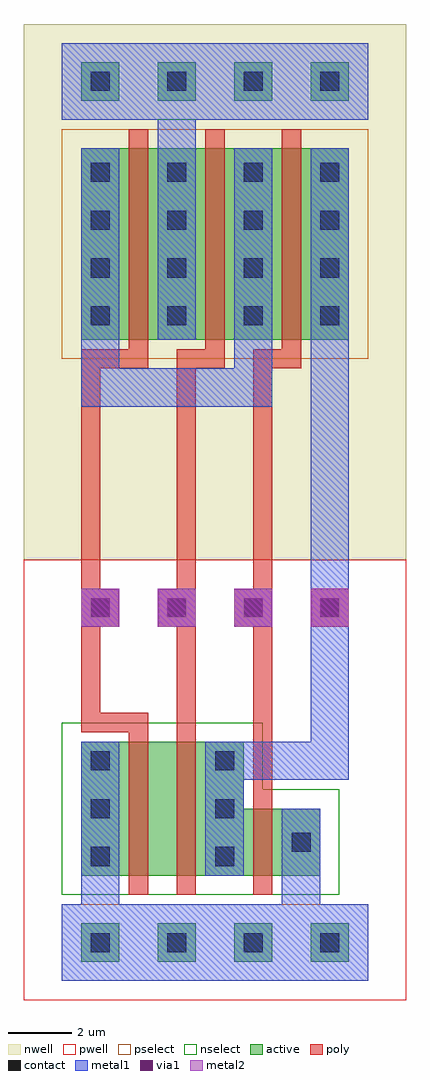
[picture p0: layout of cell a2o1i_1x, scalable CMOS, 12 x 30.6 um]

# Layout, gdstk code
import gdstk
lib = gdstk.Library(unit=1e-6, precision=1e-09)
def R(c, l, rs):  # rectangles x0, y0, x1, y1
    for r in rs: c.add(gdstk.rectangle(r[:2], r[2:], *l))
def A(c, l, x, y, w, h, nx, ny, dx, dy):  # array of equal rectangles
    R(c, l, [(x+i*dx, y+j*dy, x+i*dx+w, y+j*dy+h) for i in range(nx) for j in range(ny)])
contact = (25, 0)
pwell = (41, 0)
nwell = (42, 0)
active = (43, 0)
pselect = (44, 0)
nselect = (45, 0)
poly = (46, 0)
metal1 = (49, 0)
via1 = (50, 0)
metal2 = (51, 0)

a2o1i_1x = lib.new_cell('a2o1i_1x')
A(a2o1i_1x, contact, 0.9, -0.3, 0.6, 0.6, 4, 2, 2.4, 10.5)
A(a2o1i_1x, contact, 0.9, 2.4, 0.6, 0.6, 1, 3, 0, 1.5)
A(a2o1i_1x, contact, 4.8, 2.4, 0.6, 0.6, 1, 3, 0, 1.5)
A(a2o1i_1x, contact, 0.9, 19.35, 0.6, 0.6, 4, 4, 2.4, 1.5)
A(a2o1i_1x, contact, 0.9, 26.7, 0.6, 0.6, 4, 1, 2.4, 0)
R(a2o1i_1x, contact, [(7.2,2.85,7.8,3.45)])
A(a2o1i_1x, pwell, -0.3, -1.5, 3, 3, 4, 1, 2.4, 0)
R(a2o1i_1x, pwell, [(-1.2,-1.8,10.8,12), (-1.2,0.3,3.6,8.1), (-0.6,0.3,5.4,8.1), (0.9,0.3,6.9,8.1), (2.7,0.3,7.5,8.1), (3.3,0.3,9.3,6), (5.1,0.3,9.9,6), (2.775,1.35,7.425,5.85), (5.175,1.35,9.75,5.85), (-1.05,1.95,3.525,6.45), (0.525,1.95,5.775,6.45), (2.775,1.95,7.35,6.45)])
A(a2o1i_1x, nwell, -1.2, 17.1, 4.8, 9.6, 4, 1, 2.4, 0)
A(a2o1i_1x, nwell, -0.6, 17.1, 6, 9.6, 3, 1, 2.4, 0)
A(a2o1i_1x, nwell, -0.3, 25.5, 3, 3, 4, 1, 2.4, 0)
R(a2o1i_1x, nwell, [(-1.2,12,10.8,28.8), (-1.05,19.65,3.525,24.15), (1.275,19.65,5.85,24.15), (1.35,19.65,5.925,24.15), (3.675,19.65,8.25,24.15), (3.75,19.65,8.325,24.15), (6.075,19.65,10.65,24.15)])
A(a2o1i_1x, active, 0.6, -0.6, 1.2, 1.2, 4, 2, 2.4, 27)
A(a2o1i_1x, active, 0.6, 18.9, 1.2, 6, 4, 1, 2.4, 0)
A(a2o1i_1x, active, 1.2, 18.9, 2.4, 6, 3, 1, 2.4, 0)
R(a2o1i_1x, active, [(0.6,2.1,1.8,6.3), (1.2,2.1,3.6,6.3), (2.7,2.1,5.1,6.3), (4.5,2.1,5.7,6.3), (5.1,2.1,7.5,4.2), (6.9,2.1,8.1,4.2), (4.575,3.15,5.625,4.05), (6.975,3.15,7.95,4.05), (0.75,3.75,1.725,4.65), (2.325,3.75,3.975,4.65), (4.575,3.75,5.55,4.65), (0.75,21.45,1.725,22.35), (3.075,21.45,4.05,22.35), (3.15,21.45,4.125,22.35), (5.475,21.45,6.45,22.35), (5.55,21.45,6.525,22.35), (7.875,21.45,8.85,22.35)])
A(a2o1i_1x, pselect, 0, -1.2, 2.4, 2.4, 4, 1, 2.4, 0)
A(a2o1i_1x, pselect, 0, 18.3, 2.4, 7.2, 4, 1, 2.4, 0)
A(a2o1i_1x, pselect, 0.6, 18.3, 3.6, 7.2, 3, 1, 2.4, 0)
R(a2o1i_1x, pselect, [(0.15,20.85,2.325,22.95), (2.475,20.85,4.65,22.95), (2.55,20.85,4.725,22.95), (4.875,20.85,7.05,22.95), (4.95,20.85,7.125,22.95), (7.275,20.85,9.45,22.95)])
A(a2o1i_1x, nselect, 0, 25.8, 2.4, 2.4, 4, 1, 2.4, 0)
R(a2o1i_1x, nselect, [(0,1.5,2.4,6.9), (0.6,1.5,4.2,6.9), (2.1,1.5,5.7,6.9), (3.9,1.5,6.3,6.9), (4.5,1.5,8.1,4.8), (6.3,1.5,8.7,4.8), (3.975,2.55,6.225,4.65), (6.375,2.55,8.55,4.65), (0.15,3.15,2.325,5.25), (1.725,3.15,4.575,5.25), (3.975,3.15,6.15,5.25)])
A(a2o1i_1x, poly, 0.6, 9.9, 1.2, 1.2, 4, 1, 2.4, 0)
A(a2o1i_1x, poly, 2.1, 18.3, 0.6, 7.2, 3, 1, 2.4, 0)
R(a2o1i_1x, poly, [(2.1,1.5,2.7,6.9), (3.6,1.5,4.2,6.9), (6,1.5,6.6,4.8), (6,4.5,6.6,10.8), (0.6,6.6,1.2,10.8), (0.6,6.6,2.7,7.2), (2.1,6.6,2.7,7.2), (3.6,6.6,4.2,10.8), (0.6,10.2,1.2,18.6), (0.6,10.2,1.5,10.8), (3.3,10.2,3.9,10.8), (3.3,10.2,4.2,10.8), (3.6,10.2,4.2,18.6), (5.7,10.2,6.6,10.8), (6,10.2,6.6,18.6), (0.6,18,2.7,18.6), (3.6,18,5.1,18.6), (6,18,7.5,18.6)])
A(a2o1i_1x, metal1, 0, -1.2, 4.8, 2.4, 3, 2, 2.4, 27)
A(a2o1i_1x, metal1, 0.6, -0.6, 1.2, 1.2, 4, 2, 2.4, 27)
A(a2o1i_1x, metal1, 0.6, 18.9, 1.2, 6, 4, 1, 2.4, 0)
R(a2o1i_1x, metal1, [(0,-1.2,4.8,1.2), (6.3,-1.2,9.6,1.2), (0.6,-0.6,1.8,3.15), (6.9,-0.6,8.1,3.15), (0.75,-0.45,1.65,0.45), (7.95,-0.45,8.85,0.45), (0.6,2.1,1.8,6.3), (4.5,2.1,5.7,6.3), (6.9,2.1,8.1,4.2), (4.5,5.1,9,6.3), (7.8,5.1,9,11.1), (0.6,9.9,1.8,11.1), (0.6,9.9,1.8,11.1), (0.6,9.9,1.8,11.1), (3,9.9,4.2,11.1), (3,9.9,4.2,11.1), (3,9.9,4.2,11.1), (5.4,9.9,6.6,11.1), (5.4,9.9,6.6,11.1), (5.4,9.9,6.6,11.1), (7.8,9.9,9,11.1), (7.8,9.9,9,11.1), (7.8,9.9,9,19.95), (7.8,9.9,9,11.4), (0.6,16.8,1.8,22.5), (0.6,16.8,6.6,18), (5.4,16.8,6.6,19.95), (3,23.85,4.2,27.6), (0,25.8,2.4,28.2), (0,25.8,4.8,28.2), (2.4,25.8,9.6,28.2), (0.6,26.4,1.8,27.6), (7.8,26.4,9,27.6), (0.75,26.55,1.65,27.45)])
A(a2o1i_1x, via1, 0.9, 10.2, 0.6, 0.6, 4, 1, 2.4, 0)
A(a2o1i_1x, metal2, 0.6, 9.9, 1.2, 1.2, 4, 1, 2.4, 0)

lib.write_gds('a2o1i_1x.gds')
